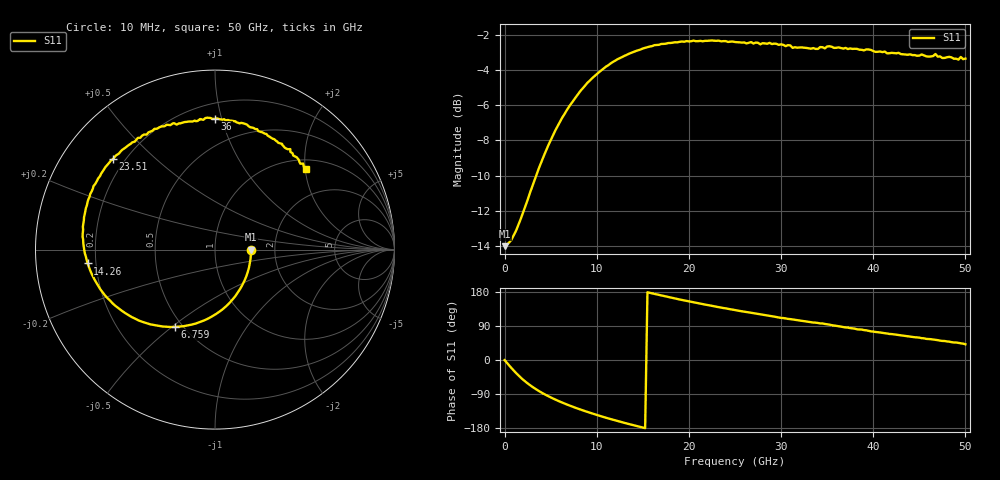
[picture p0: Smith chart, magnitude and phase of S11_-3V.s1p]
!Agilent Technologies,N5227A,US51270434,A.10.00.00
!Agilent N5227A: A.10.00.00
!Date: Thursday, February 26, 2026 11:59:53
!Correction: S11(Full 1 Port(1))
!S1P File: Measurement: S11:
# Hz S  dB  R 50
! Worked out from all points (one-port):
!   201 points, 10 MHz to 50 GHz, reference 50 ohm
!   lowest |S11| = -14.0 dB at 10 MHz (marker M1), VSWR 1.50, Z = 74.9 - j0.156 ohm
!   |S11| at or under -10 dB: start of sweep to 3.428 GHz
!   S11 on the Smith chart (normalised r, x): 10 MHz: 1.50, -0.00; 6.759 GHz: 0.45, -0.51; 14.26 GHz: 0.17, -0.05; 23.51 GHz: 0.16, +0.37; 36 GHz: 0.31, +0.95; 50 GHz: 1.21, +2.02
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1e7  -14.00 -0.3
1.25975e9  -13.11 -34.5
2.75945e9  -10.98 -66.3
4.5091e9  -8.58 -92.5
6.25875e9  -6.71 -112.4
6.75865e9  -6.28 -117.3
9.0082e9  -4.73 -137.1
1.075785e10  -3.92 -150.5
1.25075e10  -3.34 -162.7
1.425715e10  -2.93 -173.8
1.625675e10  -2.60 174.4
1.875625e10  -2.44 160.9
2.05059e10  -2.34 152.4
2.35053e10  -2.38 138.3
2.5005e10  -2.42 131.7
2.875425e10  -2.47 116.6
3.075385e10  -2.60 108.5
3.125375e10  -2.75 107.0
3.35033e10  -2.76 98.9
3.45031e10  -2.72 96.5
3.60028e10  -2.75 90.0
3.75025e10  -2.79 84.2
3.975205e10  -2.87 75.6
4.375125e10  -3.14 62.4
4.675065e10  -3.10 53.2
4.75005e10  -3.33 50.3
4.925015e10  -3.42 45.2
5e10  -3.36 41.6
